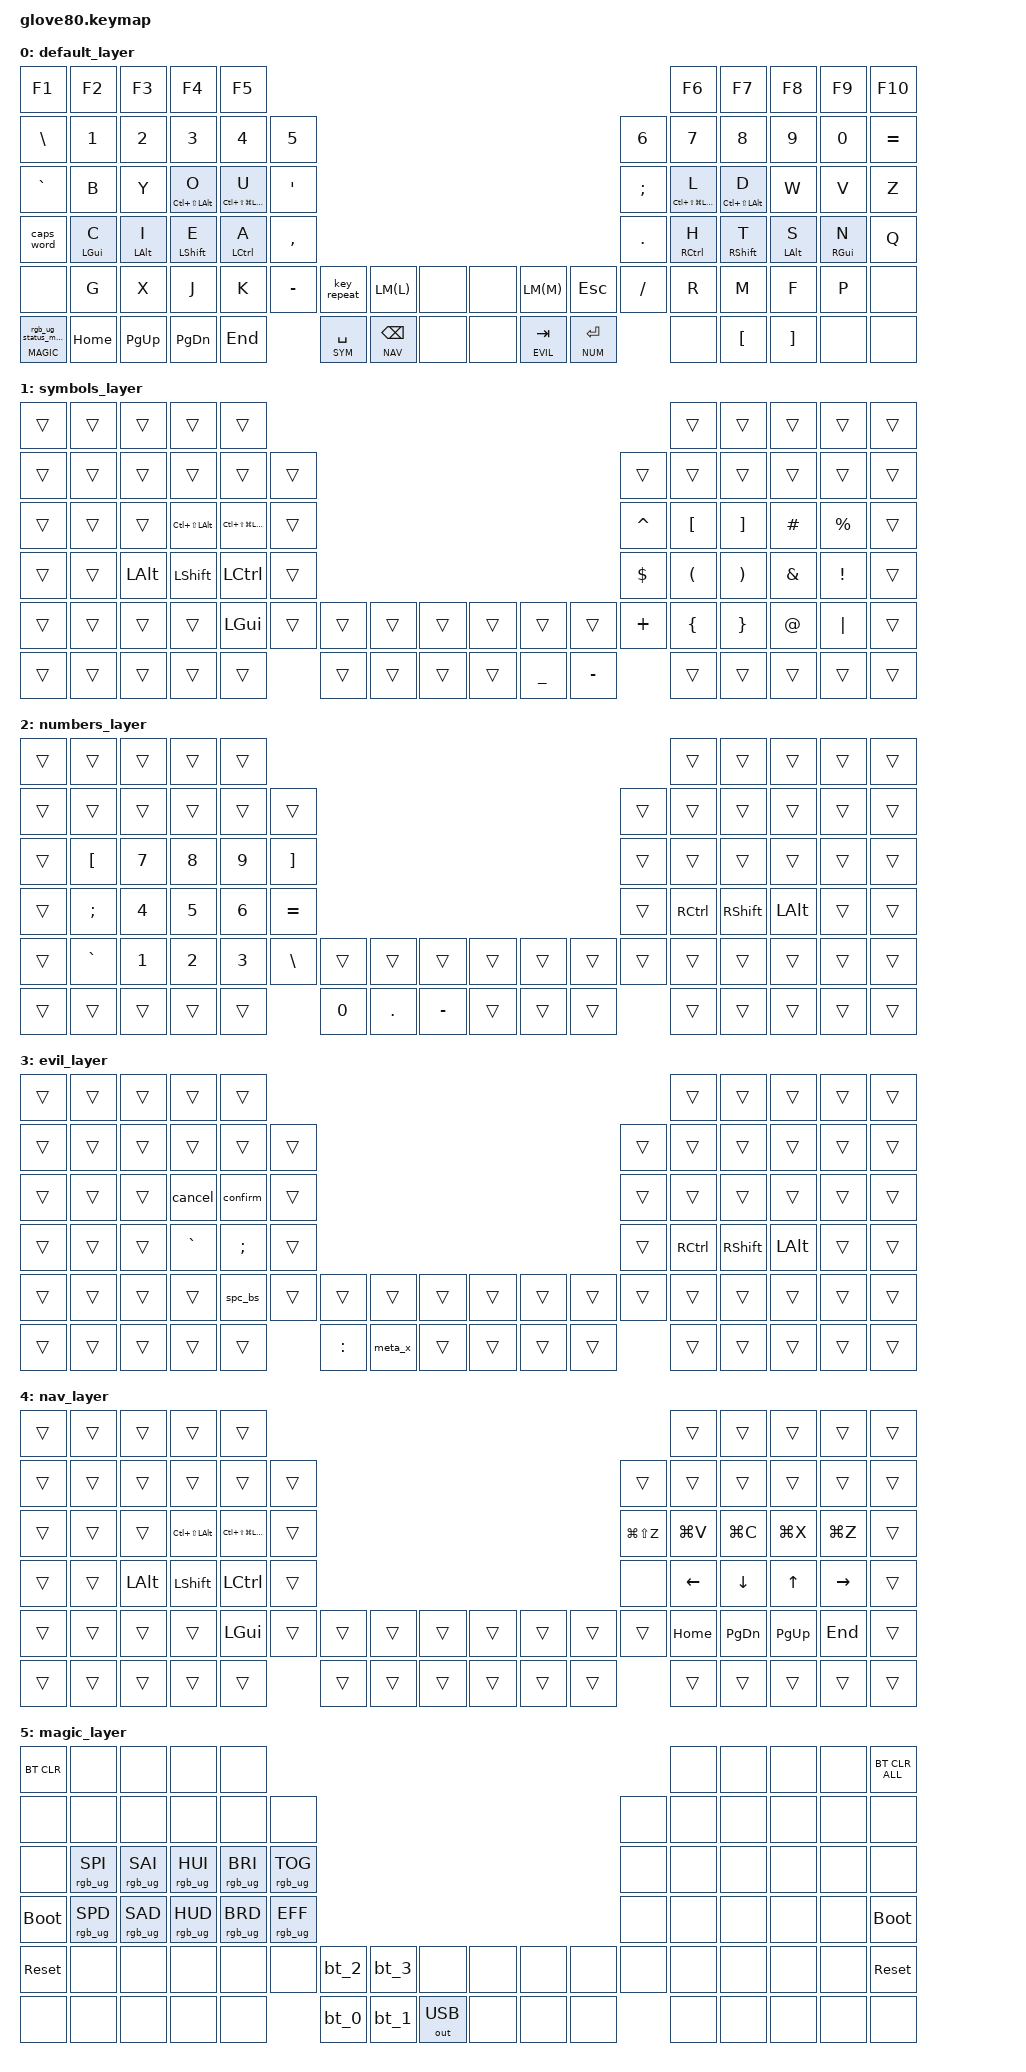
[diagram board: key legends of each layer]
/* -*- mode: dts -*- */
/*
 * Copyright (c) 2020 The ZMK Contributors
 *
 * SPDX-License-Identifier: MIT
 */

#include <behaviors.dtsi>
#include <dt-bindings/zmk/keys.h>
#include <dt-bindings/zmk/bt.h>
#include <dt-bindings/zmk/ext_power.h>
#include <dt-bindings/zmk/outputs.h>
#include <dt-bindings/zmk/rgb.h>

#define LH(keycode) LC(LS(LA(LG(keycode))))
#define LM(keycode) LC(LS(LA(keycode)))

#define HYPER LC(LS(LG(LALT)))
#define MEH LC(LS(LALT))

#define ZERO 0
#define SYM 1
#define NUM 2
#define EVIL 3
#define NAV 4
#define MAGIC 5

/ {
    behaviors {
        magic: magic_hold_tap {
            compatible = "zmk,behavior-hold-tap";
            label = "MAGIC_HOLD_TAP";
            #binding-cells = <2>;
            flavor = "tap-preferred";
            tapping-term-ms = <200>;
            bindings = <&mo>, <&rgb_ug_status_macro>;
        };

        hm: homerow_mods {
            compatible = "zmk,behavior-hold-tap";
            label = "HOMEROW_MODS";
            #binding-cells = <2>;
            tapping-term-ms = <200>;
            quick-tap-ms = <0>;
            flavor = "tap-preferred";
            bindings = <&kp>, <&kp>;
        };

        td: tapdance {
            compatible = "zmk,behavior-hold-tap";
            label = "TAPDANCE";
            #binding-cells = <2>;
            tapping-term-ms = <150>;
            quick-tap-ms = <0>;
            flavor = "tap-preferred";
            bindings = <&kp>, <&kp>;
        };
    };

    macros {
        rgb_ug_status_macro: rgb_ug_status_macro_0 {
            label = "RGB_UG_STATUS";
            compatible = "zmk,behavior-macro";
            #binding-cells = <0>;
            bindings
                = <&rgb_ug RGB_STATUS>;
        };

        bt_0: bt_profile_macro_0 {
            label = "BT_0";
            compatible = "zmk,behavior-macro";
            #binding-cells = <0>;
            bindings
                = <&out OUT_BLE>
                , <&bt BT_SEL 0>;
        };

        bt_1: bt_profile_macro_1 {
            label = "BT_1";
            compatible = "zmk,behavior-macro";
            #binding-cells = <0>;
            bindings
                = <&out OUT_BLE>
                , <&bt BT_SEL 1>;
        };

        bt_2: bt_profile_macro_2 {
            label = "BT_2";
            compatible = "zmk,behavior-macro";
            #binding-cells = <0>;
            bindings
                = <&out OUT_BLE>
                , <&bt BT_SEL 2>;
        };

        bt_3: bt_profile_macro_3 {
            label = "BT_3";
            compatible = "zmk,behavior-macro";
            #binding-cells = <0>;
            bindings
                = <&out OUT_BLE>
                , <&bt BT_SEL 3>;
        };

        ZMK_MACRO(meta_x,
            wait-ms = <30>;
            tap-ms = <40>;
            bindings = <&macro_press &kp LALT>
                     , <&macro_tap &kp X>
                     , <&macro_release &kp LALT>;
        )

        // TODO Parameterise Evil leader macros.
        ZMK_MACRO(spc_bs,
            wait-ms = <30>;
            tap-ms = <40>;
            bindings = <&kp SPACE &kp B &kp S>;
        )

        ZMK_MACRO(confirm,
            wait-ms = <30>;
            tap-ms = <40>;
            bindings = <&macro_press &kp LCTRL>
                     , <&macro_tap &kp C &kp C>
                     , <&macro_release &kp LCTRL>;
        )

        ZMK_MACRO(cancel,
            wait-ms = <30>;
            tap-ms = <40>;
            bindings = <&macro_press &kp LCTRL>
                     , <&macro_tap &kp C &kp K>
                     , <&macro_release &kp LCTRL>;
        )
    };

    keymap {
        compatible = "zmk,keymap";

        default_layer {
            bindings = <
            &kp F1          &kp F2      &kp F3      &kp F4       &kp F5                                                                                                   &kp F6       &kp F7       &kp F8      &kp F9      &kp F10
            &kp BSLH        &kp N1      &kp N2      &kp N3       &kp N4       &kp N5                                                                            &kp N6    &kp N7       &kp N8       &kp N9      &kp N0      &kp EQUAL
            &kp GRAVE       &kp B       &kp Y       &hm MEH O    &hm HYPER U  &kp SQT                                                                           &kp SEMI  &hm HYPER L  &hm MEH D    &kp W       &kp V       &kp Z
            &caps_word      &hm LGUI C  &hm LALT I  &hm LSHFT E  &hm LCTRL A  &kp COMMA                                                                         &kp DOT   &hm RCTRL H  &hm RSHFT T  &hm LALT S  &hm RGUI N  &kp Q
            &none           &kp G       &kp X       &kp J        &kp K        &kp MINUS  &key_repeat     &kp LM(L)     &none  &none  &kp LM(M)     &kp ESC      &kp FSLH  &kp R        &kp M        &kp F       &kp P       &none
            &magic MAGIC 0  &kp HOME    &kp PG_UP   &kp PG_DN    &kp END                 &lt SYM SPACE   &lt NAV BKSP  &none  &none  &lt EVIL TAB  &lt NUM RET            &none        &kp LBKT     &kp RBKT    &none       &none
            >;
        };

        symbols_layer {
            bindings = <
            &trans  &trans  &trans    &trans     &trans                                                                               &trans    &trans    &trans    &trans     &trans
            &trans  &trans  &trans    &trans     &trans     &trans                                                        &trans      &trans    &trans    &trans    &trans     &trans
            &trans  &trans  &trans    &kp MEH    &kp HYPER  &trans                                                        &kp CARET   &kp LBKT  &kp RBKT  &kp HASH  &kp PRCNT  &trans
            &trans  &trans  &kp LALT  &kp LSHFT  &kp LCTRL  &trans                                                        &kp DOLLAR  &kp LPAR  &kp RPAR  &kp AMPS  &kp EXCL   &trans
            &trans  &trans  &trans    &trans     &kp LGUI   &trans  &trans  &trans  &trans  &trans  &trans     &trans     &kp PLUS    &kp LBRC  &kp RBRC  &kp AT    &kp PIPE   &trans
            &trans  &trans  &trans    &trans     &trans             &trans  &trans  &trans  &trans  &kp UNDER  &kp MINUS              &trans    &trans    &trans    &trans     &trans
            >;
        };

        numbers_layer {
            bindings = <
            &trans  &trans     &trans  &trans  &trans                                                                         &trans     &trans     &trans    &trans  &trans
            &trans  &trans     &trans  &trans  &trans  &trans                                                         &trans  &trans     &trans     &trans    &trans  &trans
            &trans  &kp LBKT   &kp N7  &kp N8  &kp N9  &kp RBKT                                                       &trans  &trans     &trans     &trans    &trans  &trans
            &trans  &kp SEMI   &kp N4  &kp N5  &kp N6  &kp EQUAL                                                      &trans  &kp RCTRL  &kp RSHFT  &kp LALT  &trans  &trans
            &trans  &kp GRAVE  &kp N1  &kp N2  &kp N3  &kp BSLH   &trans  &trans   &trans     &trans  &trans  &trans  &trans  &trans     &trans     &trans    &trans  &trans
            &trans  &trans     &trans  &trans  &trans             &kp N0  &kp DOT  &kp MINUS  &trans  &trans  &trans          &trans     &trans     &trans    &trans  &trans
            >;
        };

        evil_layer {
            bindings = <
            &trans  &trans  &trans  &trans     &trans                                                                         &trans     &trans     &trans    &trans  &trans
            &trans  &trans  &trans  &trans     &trans    &trans                                                       &trans  &trans     &trans     &trans    &trans  &trans
            &trans  &trans  &trans  &cancel    &confirm  &trans                                                       &trans  &trans     &trans     &trans    &trans  &trans
            &trans  &trans  &trans  &kp GRAVE  &kp SEMI  &trans                                                       &trans  &kp RCTRL  &kp RSHFT  &kp LALT  &trans  &trans
            &trans  &trans  &trans  &trans     &spc_bs   &trans   &trans     &trans   &trans  &trans  &trans  &trans  &trans  &trans     &trans     &trans    &trans  &trans
            &trans  &trans  &trans  &trans     &trans             &kp COLON  &meta_x  &trans  &trans  &trans  &trans          &trans     &trans     &trans    &trans  &trans
            >;
        };

        nav_layer {
            bindings = <
            &trans  &trans  &trans    &trans     &trans                                                                            &trans     &trans     &trans     &trans     &trans
            &trans  &trans  &trans    &trans     &trans     &trans                                                  &trans         &trans     &trans     &trans     &trans     &trans
            &trans  &trans  &trans    &kp MEH    &kp HYPER  &trans                                                  &kp LG(LS(Z))  &kp LG(V)  &kp LG(C)  &kp LG(X)  &kp LG(Z)  &trans
            &trans  &trans  &kp LALT  &kp LSHFT  &kp LCTRL  &trans                                                  &none          &kp LEFT   &kp DOWN   &kp UP     &kp RIGHT  &trans
            &trans  &trans  &trans    &trans     &kp LGUI   &trans  &trans  &trans  &trans  &trans  &trans  &trans  &trans         &kp HOME   &kp PG_DN  &kp PG_UP  &kp END    &trans
            &trans  &trans  &trans    &trans     &trans             &trans  &trans  &trans  &trans  &trans  &trans                 &trans     &trans     &trans     &trans     &trans
            >;
        };

        magic_layer {
            bindings = <
            &bt BT_CLR        &none               &none           &none           &none                                                                                                           &none      &none      &none      &none      &bt BT_CLR_ALL
            &none             &none               &none           &none           &none           &none                                                                                &none      &none      &none      &none      &none      &none
            &none             &rgb_ug RGB_SPI     &rgb_ug RGB_SAI &rgb_ug RGB_HUI &rgb_ug RGB_BRI &rgb_ug RGB_TOG                                                                      &none      &none      &none      &none      &none      &none
            &bootloader       &rgb_ug RGB_SPD     &rgb_ug RGB_SAD &rgb_ug RGB_HUD &rgb_ug RGB_BRD &rgb_ug RGB_EFF                                                                      &none      &none      &none      &none      &none      &bootloader
            &sys_reset        &none               &none           &none           &none           &none           &bt_2     &bt_3     &none            &none     &none     &none       &none      &none      &none      &none      &none      &sys_reset
            &none             &none               &none           &none           &none                           &bt_0     &bt_1     &out OUT_USB     &none     &none     &none                  &none      &none      &none      &none      &none
            >;
        };

        /* One transparent layer for your creative use.

        layer_N {
            bindings = <
            &trans  &trans  &trans  &trans  &trans                                                                  &trans  &trans  &trans  &trans  &trans
            &trans  &trans  &trans  &trans  &trans  &trans                                                  &trans  &trans  &trans  &trans  &trans  &trans
            &trans  &trans  &trans  &trans  &trans  &trans                                                  &trans  &trans  &trans  &trans  &trans  &trans
            &trans  &trans  &trans  &trans  &trans  &trans                                                  &trans  &trans  &trans  &trans  &trans  &trans
            &trans  &trans  &trans  &trans  &trans  &trans  &trans  &trans  &trans  &trans  &trans  &trans  &trans  &trans  &trans  &trans  &trans  &trans
            &trans  &trans  &trans  &trans  &trans          &trans  &trans  &trans  &trans  &trans  &trans          &trans  &trans  &trans  &trans  &trans
            >;
        };
        */
    };
};
